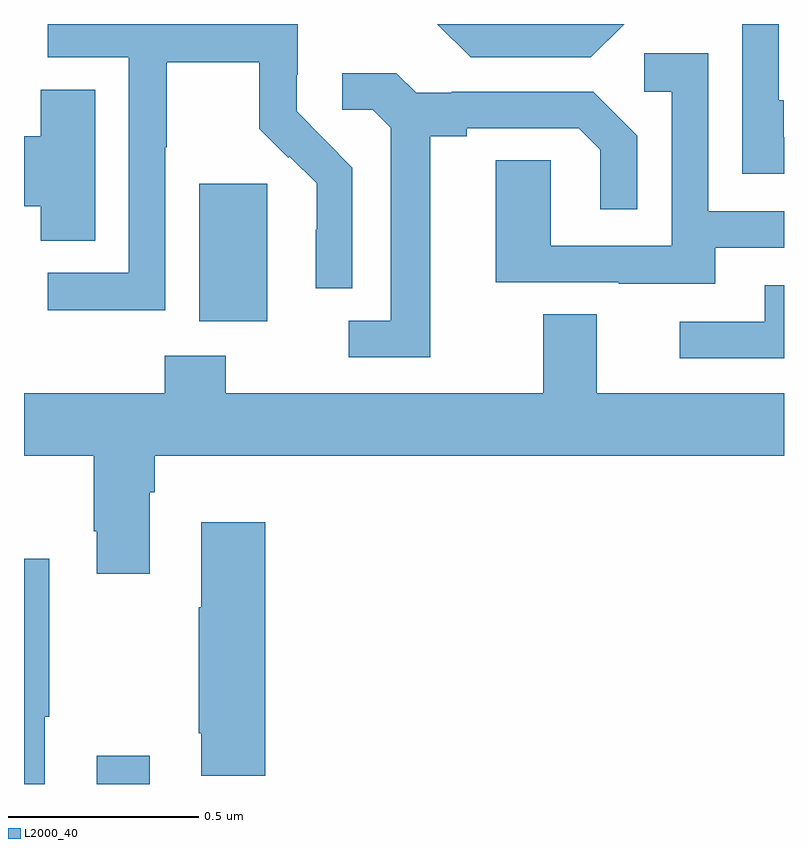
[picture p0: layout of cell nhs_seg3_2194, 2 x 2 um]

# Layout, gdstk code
import gdstk
lib = gdstk.Library(unit=1e-6, precision=1e-09)
def R(c, l, rs):  # rectangles x0, y0, x1, y1
    for r in rs: c.add(gdstk.rectangle(r[:2], r[2:], *l))
def P(c, l, *ps):  # polygons
    for p in ps: c.add(gdstk.Polygon(p, *l))
L2000_40 = (2000, 40)

nhs_seg3_2194 = lib.new_cell('nhs_seg3_2194')
R(nhs_seg3_2194, L2000_40, [(138.191,685.4,138.331,685.474), (138.461,686.618,138.64,686.979)])
P(nhs_seg3_2194, L2000_40, [(138.372,687.076),(138.375,687.076),(138.375,687.3),(138.619,687.3),(138.619,687.125),(138.696,687.048),(138.699,687.051),(138.77,686.981),(138.77,686.858),(138.768,686.858),(138.768,686.704),(138.864,686.704),(138.864,687.022),(138.791,687.095),(138.792,687.096),(138.718,687.17),(138.718,687.267),(138.72,687.267),(138.72,687.4),(138.063,687.4),(138.063,687.312),(138.276,687.312),(138.276,686.745),(138.063,686.745),(138.063,686.647),(138.372,686.647)],
  [(139.579,687.4),(139.088,687.4),(139.176,687.312),(139.491,687.312)],
  [(140,687.102),(139.999,687.102),(139.999,687.199),(139.986,687.199),(139.986,687.4),(139.89,687.4),(139.89,687.006),(140,687.006)],
  [(139.819,686.811),(140,686.811),(140,686.907),(139.8,686.907),(139.8,687.323),(139.632,687.323),(139.632,687.222),(139.704,687.222),(139.704,686.817),(139.386,686.817),(139.386,687.041),(139.241,687.041),(139.241,686.721),(139.565,686.721),(139.565,686.717),(139.819,686.717)],
  [(139.069,687.104),(139.165,687.104),(139.165,687.126),(139.46,687.126),(139.517,687.069),(139.517,686.913),(139.614,686.913),(139.614,687.106),(139.498,687.222),(139.126,687.222),(139.126,687.219),(139.032,687.219),(138.98,687.271),(138.837,687.271),(138.837,687.174),(138.918,687.174),(138.965,687.127),(138.965,686.619),(138.855,686.619),(138.855,686.523),(139.069,686.523)],
  [(138.187,687.227),(138.044,687.227),(138.044,687.104),(138,687.104),(138,686.921),(138.044,686.921),(138.044,686.83),(138.187,686.83)],
  [(140,686.712),(139.949,686.712),(139.949,686.616),(139.725,686.616),(139.725,686.52),(140,686.52)],
  [(138,686.264),(138.184,686.264),(138.184,686.065),(138.191,686.065),(138.191,685.953),(138.331,685.953),(138.331,686.168),(138.344,686.168),(138.344,686.264),(140,686.264),(140,686.428),(139.507,686.428),(139.507,686.636),(139.367,686.636),(139.367,686.428),(138.531,686.428),(138.531,686.527),(138.371,686.527),(138.371,686.428),(138,686.428)],
  [(138.635,686.089),(138.467,686.089),(138.467,685.865),(138.46,685.865),(138.46,685.534),(138.467,685.534),(138.467,685.422),(138.635,685.422)],
  [(138.055,685.577),(138.067,685.577),(138.067,685.993),(138,685.993),(138,685.4),(138.055,685.4)])

lib.write_gds('nhs_seg3_2194.gds')
